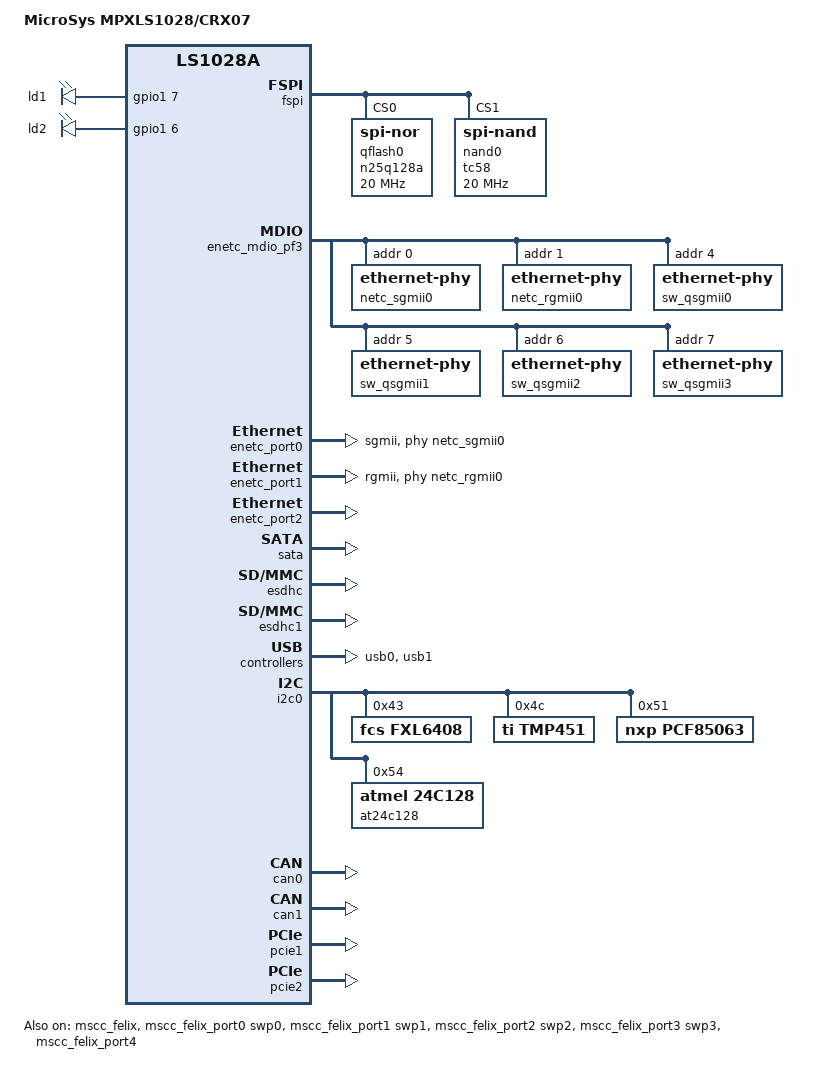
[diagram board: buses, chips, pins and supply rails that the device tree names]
// SPDX-License-Identifier: GPL-2.0+ OR X11
/*
 * MicroSys MPXLS1028 device tree
 *
 * Copyright 2018 NXP
 * Copyright (C) 2019-2021 MicroSys Electronics GmbH
 */

/dts-v1/;

#include "fsl-ls1028a.dtsi"

/ {
	model = "MicroSys MPXLS1028/CRX07";
	compatible = "fsl,ls1028a-rdb", "fsl,ls1028a";
	aliases {
		spi0 = &fspi;
	};

      leds {
          compatible = "gpio-leds";
          ld1 {
              label = "ld1";
              gpios = <&gpio1 7 0>;
              default-state = "off";
          };
          ld2 {
              label = "ld2";
              gpios = <&gpio1 6 0>;
              default-state = "off";
          };
      };
};

&fspi {
	bus-num = <0>;
	status = "okay";

	// 16MB NOR
	qflash0: n25q128a@0 {
		#address-cells = <1>;
		#size-cells = <1>;
		compatible = "jedec,spi-nor","spi-flash";
		spi-max-frequency = <20000000>;
		reg = <0>;
		fspi-rx-bus-width = <1>;
        fspi-tx-bus-width = <1>;
	 };

	// 512MB NAND
	nand0: tc58@0 {
		#address-cells = <1>;
		#size-cells = <1>;
		compatible = "spi-nand";
		spi-max-frequency = <20000000>;
		reg = <1>;
        fspi-rx-bus-width = <1>;
        fspi-tx-bus-width = <1>;
	 };
};

&enetc_mdio_pf3 {

    netc_sgmii0: ethernet-phy@0 {
        reg = <0>;
    };

    netc_rgmii0: ethernet-phy@1 {
        reg = <1>;
    };

    sw_qsgmii0: ethernet-phy@4 {
        reg = <4>;
    };

    sw_qsgmii1: ethernet-phy@5 {
        reg = <5>;
    };

    sw_qsgmii2: ethernet-phy@6 {
        reg = <6>;
    };

    sw_qsgmii3: ethernet-phy@7 {
        reg = <7>;
    };
};

&enetc_port0 {
    status = "okay";
    phy-mode = "sgmii";
    phy-handle = <&netc_sgmii0>;
};

&enetc_port1 {
    status = "okay";
    phy-mode = "rgmii";
    phy-handle = <&netc_rgmii0>;
};

&enetc_port2 {
	status = "okay";
};

&mscc_felix {
	status = "okay";
};

&mscc_felix_port0 {
	label = "swp0";
    status = "okay";
    phy-mode = "qsgmii";
    phy-handle = <&sw_qsgmii0>;
};

&mscc_felix_port1 {
	label = "swp1";
	phy-mode = "qsgmii";
    phy-handle = <&sw_qsgmii1>;
	status = "okay";
};

&mscc_felix_port2 {
	label = "swp2";
	phy-mode = "qsgmii";
    phy-handle = <&sw_qsgmii2>;
	status = "okay";
};

&mscc_felix_port3 {
	label = "swp3";
	phy-mode = "qsgmii";
    phy-handle = <&sw_qsgmii3>;
	status = "okay";
};

&mscc_felix_port4 {
	status = "okay";
	ethernet = <&enetc_port2>;
};

&sata {
	status = "okay";
};

&esdhc {
	status = "okay";
};

&esdhc1 {
	status = "okay";
};

&usb0 {
	status = "okay";
};

&usb1 {
	status = "okay";
};

&i2c0 {
    status = "okay";
    u-boot,dm-pre-reloc;

    fxl6408: gpio@43 {
        compatible = "fcs,fxl6408";
        reg = <0x43>;
        direction = [00];
        input-default-state = [1f];
        pull-config = [00 1f];
        u-boot,i2c-offset-len = <1>; /* one address byte */
    };

    tmp451: temp@4c {
        compatible = "ti,tmp451";
        reg = <0x4c>;
        u-boot,i2c-offset-len = <1>; /* one address byte */
    };

    pcf85063: rtc@51 {
        compatible = "nxp,pcf85063";
        reg = <0x51>;
        u-boot,i2c-offset-len = <1>; /* one address byte */
    };

    at24c128: eeprom@54 {
        compatible = "atmel,24c128";
        reg = <0x54>;
        u-boot,i2c-offset-len = <2>; /* two address bytes */
        write-page-size = <64>;
        page-write-delay = <5000>; /* 5ms delay when writing */
        max-speed = <400000>;
    };

};

&gpio1 {
    status = "disabled";
};

&gpio2 {
    status = "okay";
};

&gpio3 {
    status = "disabled";
};

&can0 {
	status = "okay";
};

&can1 {
	status = "okay";
};

&pcie1 {
	status = "okay";
};

&pcie2 {
	status = "okay";
};
